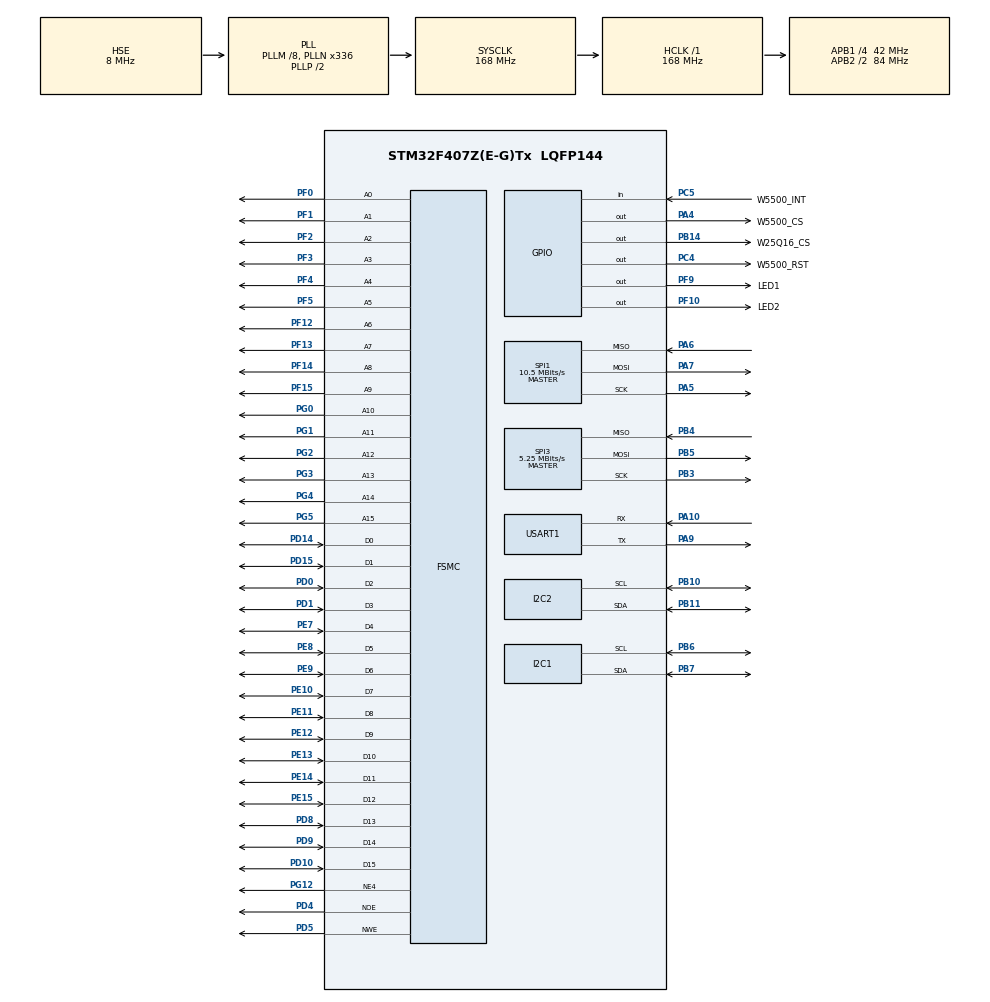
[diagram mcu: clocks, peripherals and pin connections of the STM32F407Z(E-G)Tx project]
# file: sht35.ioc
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FSMC.DataSetupTime4=24
FSMC.ExtendedAddressSetupTime4=8
FSMC.ExtendedDataSetupTime4=8
FSMC.ExtendedMode4=FSMC_EXTENDED_MODE_ENABLE
FSMC.WriteOperation4=FSMC_WRITE_OPERATION_ENABLE
I2C1.I2C_Mode=I2C_Fast
Mcu.Family=STM32F4
Mcu.Name=STM32F407Z(E-G)Tx
Mcu.Package=LQFP144
NVIC.PriorityGroup=NVIC_PRIORITYGROUP_4
NVIC.RTC_Alarm_IRQn=true\:0\:0\:false\:false\:true\:true\:true\:true
NVIC.TIM2_IRQn=true\:0\:0\:false\:false\:true\:true\:true\:true
PA10.Mode=Asynchronous
PA10.Signal=USART1_RX
PA13.Mode=Serial_Wire
PA13.Signal=SYS_JTMS-SWDIO
PA14.Mode=Serial_Wire
PA14.Signal=SYS_JTCK-SWCLK
PA4.GPIO_Label=W5500_CS
PA4.GPIO_Speed=GPIO_SPEED_FREQ_HIGH
PA4.PinState=GPIO_PIN_SET
PA4.Signal=GPIO_Output
PA5.Mode=Full_Duplex_Master
PA5.Signal=SPI1_SCK
PA6.Mode=Full_Duplex_Master
PA6.Signal=SPI1_MISO
PA7.Mode=Full_Duplex_Master
PA7.Signal=SPI1_MOSI
PA9.Mode=Asynchronous
PA9.Signal=USART1_TX
PB10.Mode=I2C
PB10.Signal=I2C2_SCL
PB11.Mode=I2C
PB11.Signal=I2C2_SDA
PB14.GPIO_Label=W25Q16_CS
PB14.GPIO_PuPd=GPIO_PULLUP
PB14.PinState=GPIO_PIN_SET
PB14.Signal=GPIO_Output
PB3.Mode=Full_Duplex_Master
PB3.Signal=SPI3_SCK
PB4.Mode=Full_Duplex_Master
PB4.Signal=SPI3_MISO
PB5.Mode=Full_Duplex_Master
PB5.Signal=SPI3_MOSI
PB6.Mode=I2C
PB6.Signal=I2C1_SCL
PB7.Mode=I2C
PB7.Signal=I2C1_SDA
PC14-OSC32_IN.Mode=LSE-External-Oscillator
PC14-OSC32_IN.Signal=RCC_OSC32_IN
PC15-OSC32_OUT.Mode=LSE-External-Oscillator
PC15-OSC32_OUT.Signal=RCC_OSC32_OUT
PC4.GPIO_Label=W5500_RST
PC4.PinState=GPIO_PIN_SET
PC4.Signal=GPIO_Output
PC5.GPIO_Label=W5500_INT
PC5.Signal=GPIO_Input
PD0.Signal=FSMC_D2_DA2
PD1.Signal=FSMC_D3_DA3
PD10.Signal=FSMC_D15_DA15
PD14.Signal=FSMC_D0_DA0
PD15.Signal=FSMC_D1_DA1
PD4.Signal=FSMC_NOE
PD5.Signal=FSMC_NWE
PD8.Signal=FSMC_D13_DA13
PD9.Signal=FSMC_D14_DA14
PE10.Signal=FSMC_D7_DA7
PE11.Signal=FSMC_D8_DA8
PE12.Signal=FSMC_D9_DA9
PE13.Signal=FSMC_D10_DA10
PE14.Signal=FSMC_D11_DA11
PE15.Signal=FSMC_D12_DA12
PE7.Signal=FSMC_D4_DA4
PE8.Signal=FSMC_D5_DA5
PE9.Signal=FSMC_D6_DA6
PF0.Signal=FSMC_A0
PF1.Signal=FSMC_A1
PF10.GPIO_Label=LED2
PF10.Signal=GPIO_Output
PF12.Signal=FSMC_A6
PF13.Signal=FSMC_A7
PF14.Signal=FSMC_A8
PF15.Signal=FSMC_A9
PF2.Signal=FSMC_A2
PF3.Signal=FSMC_A3
PF4.Signal=FSMC_A4
PF5.Signal=FSMC_A5
PF9.GPIO_Label=LED1
PF9.Signal=GPIO_Output
PG0.Signal=FSMC_A10
PG1.Signal=FSMC_A11
PG12.Mode=NorPsramChipSelect4_4
PG12.Signal=FSMC_NE4
PG2.Signal=FSMC_A12
PG3.Signal=FSMC_A13
PG4.Signal=FSMC_A14
PG5.Signal=FSMC_A15
PH0-OSC_IN.Mode=HSE-External-Oscillator
PH0-OSC_IN.Signal=RCC_OSC_IN
PH1-OSC_OUT.Mode=HSE-External-Oscillator
PH1-OSC_OUT.Signal=RCC_OSC_OUT
ProjectManager.HeapSize=0x200
ProjectManager.StackSize=0x400
ProjectManager.TargetToolchain=Makefile
RCC.48MHZClocksFreq_Value=84000000
RCC.AHBFreq_Value=168000000
RCC.APB1CLKDivider=RCC_HCLK_DIV4
RCC.APB1Freq_Value=42000000
RCC.APB1TimFreq_Value=84000000
RCC.APB2CLKDivider=RCC_HCLK_DIV2
RCC.APB2Freq_Value=84000000
RCC.APB2TimFreq_Value=168000000
RCC.CortexFreq_Value=168000000
RCC.HCLKFreq_Value=168000000
RCC.HSE_VALUE=8000000
RCC.HSI_VALUE=16000000
RCC.PLLM=8
RCC.PLLN=336
RCC.PLLSourceVirtual=RCC_PLLSOURCE_HSE
RCC.RCC_RTC_Clock_Source=RCC_RTCCLKSOURCE_LSE
RCC.RCC_RTC_Clock_SourceVirtual=RCC_RTCCLKSOURCE_LSE
RCC.SYSCLKFreq_VALUE=168000000
RCC.SYSCLKSource=RCC_SYSCLKSOURCE_PLLCLK
RCC.VCOOutputFreq_Value=336000000
RTC.Alarm=RTC_ALARM_A
RTC.Date=15
RTC.Format=RTC_FORMAT_BIN
RTC.Hours=7
RTC.Minutes=58
RTC.Month=RTC_MONTH_JULY
RTC.Year=26
SH.FSMC_A0.0=FSMC_A0,16b-a4
SH.FSMC_A1.0=FSMC_A1,16b-a4
SH.FSMC_A10.0=FSMC_A10,16b-a4
SH.FSMC_A11.0=FSMC_A11,16b-a4
SH.FSMC_A12.0=FSMC_A12,16b-a4
SH.FSMC_A13.0=FSMC_A13,16b-a4
SH.FSMC_A14.0=FSMC_A14,16b-a4
SH.FSMC_A15.0=FSMC_A15,16b-a4
SH.FSMC_A2.0=FSMC_A2,16b-a4
SH.FSMC_A3.0=FSMC_A3,16b-a4
SH.FSMC_A4.0=FSMC_A4,16b-a4
SH.FSMC_A5.0=FSMC_A5,16b-a4
SH.FSMC_A6.0=FSMC_A6,16b-a4
SH.FSMC_A7.0=FSMC_A7,16b-a4
SH.FSMC_A8.0=FSMC_A8,16b-a4
SH.FSMC_A9.0=FSMC_A9,16b-a4
SH.FSMC_D0_DA0.0=FSMC_D0,16b-d4
SH.FSMC_D10_DA10.0=FSMC_D10,16b-d4
SH.FSMC_D11_DA11.0=FSMC_D11,16b-d4
SH.FSMC_D12_DA12.0=FSMC_D12,16b-d4
SH.FSMC_D13_DA13.0=FSMC_D13,16b-d4
SH.FSMC_D14_DA14.0=FSMC_D14,16b-d4
SH.FSMC_D15_DA15.0=FSMC_D15,16b-d4
SH.FSMC_D1_DA1.0=FSMC_D1,16b-d4
SH.FSMC_D2_DA2.0=FSMC_D2,16b-d4
SH.FSMC_D3_DA3.0=FSMC_D3,16b-d4
SH.FSMC_D4_DA4.0=FSMC_D4,16b-d4
SH.FSMC_D5_DA5.0=FSMC_D5,16b-d4
SH.FSMC_D6_DA6.0=FSMC_D6,16b-d4
SH.FSMC_D7_DA7.0=FSMC_D7,16b-d4
SH.FSMC_D8_DA8.0=FSMC_D8,16b-d4
SH.FSMC_D9_DA9.0=FSMC_D9,16b-d4
SH.FSMC_NOE.0=FSMC_NOE,Sram4
SH.FSMC_NWE.0=FSMC_NWE,Sram4
SPI1.BaudRatePrescaler=SPI_BAUDRATEPRESCALER_8
SPI1.CalculateBaudRate=10.5 MBits/s
SPI1.Direction=SPI_DIRECTION_2LINES
SPI1.Mode=SPI_MODE_MASTER
SPI1.VirtualType=VM_MASTER
SPI3.BaudRatePrescaler=SPI_BAUDRATEPRESCALER_8
SPI3.CLKPhase=SPI_PHASE_2EDGE
SPI3.CLKPolarity=SPI_POLARITY_HIGH
SPI3.CalculateBaudRate=5.25 MBits/s
SPI3.Direction=SPI_DIRECTION_2LINES
SPI3.Mode=SPI_MODE_MASTER
SPI3.VirtualType=VM_MASTER
TIM2.AutoReloadPreload=TIM_AUTORELOAD_PRELOAD_ENABLE
TIM2.Period=999
TIM2.Prescaler=83
USART1.VirtualMode=VM_ASYNC
VP_RTC_VS_RTC_Activate.Mode=RTC_Enabled
VP_RTC_VS_RTC_Alarm_A_Intern.Mode=Alarm A
VP_RTC_VS_RTC_Calendar.Mode=RTC_Calendar
VP_TIM2_VS_ClockSourceINT.Mode=Internal
board=custom

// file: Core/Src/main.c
/* USER CODE BEGIN Header */
  /**
    ******************************************************************************
    * @file           : main.c
    * @brief          : Main program body
    ******************************************************************************
    * @attention
    *
    * Copyright (c) 2026 STMicroelectronics.
    * All rights reserved.
    *
    * This software is licensed under terms that can be found in the LICENSE file
    * in the root directory of this software component.
    * If no LICENSE file comes with this software, it is provided AS-IS.
    *
    ******************************************************************************
    */
/* USER CODE END Header */
#include "main.h"
#include "i2c.h"
#include "rtc.h"
#include "spi.h"
#include "tim.h"
#include "usart.h"
#include "gpio.h"
#include "fsmc.h"

/* USER CODE BEGIN Includes */
  #include <unistd.h>  // _read 和 _write 必须包含此头文件
  #include <errno.h>
   #include <stdio.h>
  #include "delay.h" //延迟函数
  #include "SHT3x.h"  //引入温湿度传感器
  #include "SY30.h"   //光照传感器
  #include "lcd.h"    //TFT LCD屏幕
  #include "w5500.h"  //w5500
  #include "wizchip_conf.h"
  #include "wiz_interface.h"
  #include "do_mqtt.h"
  #include "display.h"
  #include "driver_w25qxx.h"  // 引入 LibDriver 核心头文件
  #include "driver_w25qxx_interface.h"// 接口层头文件
  #include "lfs_port.h"

/* USER CODE END Includes */

/* USER CODE BEGIN PD */
   extern UART_HandleTypeDef huart1; // 确保声明了 huart1
  // 外部声明 SPI 句柄
   extern SPI_HandleTypeDef hspi3;
/* USER CODE END PD */

/* USER CODE BEGIN PV */

  #define SOCKET_ID 0
  #define ETHERNET_BUF_MAX_SIZE (1024 * 2)

  float hum = 0.0f;       // 用于存储湿度值
  float temp = 0.0f;      // 用于存储温度值
  uint16_t light = 0;     //光照强度

  /* network information */
  wiz_NetInfo default_net_info = {
      .mac = {0x00, 0x08, 0xdc, 0x12, 0x22, 0x12},
      .ip  = {192, 168, 1, 30},
      .gw  = {192, 168, 1, 1},
      .sn  = {255, 255, 255, 0},
      .dns = {8, 8, 8, 8},
      .dhcp = NETINFO_DHCP
  };

  uint8_t ethernet_buf[ETHERNET_BUF_MAX_SIZE] = {0};
  static uint8_t mqtt_send_ethernet_buf[ETHERNET_BUF_MAX_SIZE] = {0};
  static uint8_t mqtt_recv_ethernet_buf[ETHERNET_BUF_MAX_SIZE] = {0};

/* USER CODE END PV */

void SystemClock_Config(void);

/* USER CODE BEGIN 0 */

  /**
    * @brief  重定向 _read (用于 scanf / getchar，适配 newlib-nano)
    */
  int _read(int fd, char *ptr, int len)
  {
      // fd == 0 代表 stdin (标准输入)
      if (fd == 0)
      {
          // 阻塞接收 1 个字符 (与原来的 fgetc 逻辑一致)
          HAL_UART_Receive(&huart1, (uint8_t *)ptr, 1, HAL_MAX_DELAY);
          return 1; // 返回成功读取的字节数
      }
      errno = EBADF;
      return -1;
  }

/**
  * @brief  重定向 _write (用于 printf，适配 newlib-nano)
  */
int _write(int fd, char *ptr, int len)
{
    // fd == 1 代表 stdout, fd == 2 代表 stderr
    if (fd == 1 || fd == 2)
    {
        // 批量发送，效率极高
        HAL_UART_Transmit(&huart1, (uint8_t *)ptr, len, HAL_MAX_DELAY);
        return len;
    }
    errno = EBADF;
    return -1;
}

/* USER CODE END 0 */

int main(void)
{

  /* USER CODE BEGIN 1 */
      char str_temp[32];      // 用于格式化温度字符串的缓冲区
      char str_hum[32];       // 用于格式化湿度字符串的缓冲区
      char str_light[32];
      uint32_t last_sensor_time = 0;
      uint32_t last_rtc_time = 0;

  /* USER CODE END 1 */

  /* MCU Configuration--------------------------------------------------------*/

  /* Reset of all peripherals, Initializes the Flash interface and the Systick. */
  HAL_Init();

  /* Configure the system clock */
  SystemClock_Config();

  /* USER CODE BEGIN SysInit */

  // 4. DWT 延时初始化，必须放在 SystemClock_Config() 之后！
  // 此时 SystemCoreClock 已经是准确的 168,000,000
  Delay_Init();

  /* USER CODE END SysInit */

  /* Initialize all configured peripherals */
  MX_GPIO_Init();
  MX_FSMC_Init();
  MX_I2C1_Init();
  MX_I2C2_Init();
  MX_USART1_UART_Init();
  MX_RTC_Init();
  MX_SPI1_Init();
  MX_TIM2_Init();
  MX_SPI3_Init();
  /* USER CODE BEGIN 2 */
  HAL_TIM_Base_Start_IT(&htim2);

  // 打印验证一下，确保时钟配置正确
  printf("System Core Clock: %u Hz\r\n", SystemCoreClock);
  uint8_t test[] = "Hello USART1\r\n";
  HAL_UART_Transmit(&huart1, test, sizeof(test), 100);
  HAL_Delay(10);
  printf("%s MQTT OneNET example\r\n",_WIZCHIP_ID_);

  //6. 初始化 LittleFS (内部会自动初始化 W25Q16)

  printf("\r\n========================================\r\n");
  printf("  W25Q16 + LittleFS Final Test\r\n");
  printf("========================================\r\n");

  if (lfs_port_init()!= 0)
  {
      printf("[ERROR] System Init Failed! Halt.\r\n");
  }
  else
  {
      printf("[INFO] LittleFS Mount Success!\r\n");
  }
    printf("[INFO] System Ready! Logging...\r\n\r\n");

  // 3. 写入测试日志
  save_log_to_flash("System Boot OK.");
  save_log_to_flash("SPI & LittleFS Init Success.");
  save_log_to_flash("This is a test log from W25Q16.");

  // 4. 读取并打印所有日志
  read_all_logs();
  /* wizchip init */
  wizchip_initialize();
  uint8_t version = getVERSIONR(); // 读取 W5500 版本寄存器 (固定为 0x04)
  printf("[W5500] VERSIONR = 0x%02X\r\n", version);
  network_init(ethernet_buf, &default_net_info);
  mqtt_init(SOCKET_ID, mqtt_send_ethernet_buf, mqtt_recv_ethernet_buf);

  RTC_TimeTypeDef sTime = {0};
  RTC_DateTypeDef sDate = {0};
  char date_str[20];
  char time_str[20];

  display_init();

  /* USER CODE END 2 */

  /* Infinite loop */
  /* USER CODE BEGIN WHILE */
    while (1)
    {
     // ---------------------------------------------------------
     // 任务1：每 1000ms 执行一次传感器读取和 MQTT
     // ---------------------------------------------------------
     if (HAL_GetTick() - last_sensor_time >= 1000)
        {
            last_sensor_time = HAL_GetTick(); // 更新时间戳
        // 1. 读取传感器数据
      if (ReadSHT3x(&hum, &temp))
      {
          snprintf(str_temp, sizeof(str_temp), "%.2f", temp);
          snprintf(str_hum, sizeof(str_hum), "%.2f", hum);
          printf("temp%.2f,hum%.2f\r\n",temp,hum);
      }
      else
      {
          // 如果读取失败，显示错误提示
          snprintf(str_temp, sizeof(str_temp), "Error");
          snprintf(str_hum, sizeof(str_hum), "Error");
      }
      // ================== 2. 读取并显示光照度 (SY30/BH1750) ==================
      GY30_Init();
      //light = GY30_GetData();
      if (GY30_ReadLux(&light) == HAL_OK)
          {
              printf("Light: %u Lux\r\n", light);
          }
          else
          {
              printf("GY30 read failed\r\n");
          }

      // 格式化为 5 位整数字符串（例如 "150" 或 "00150"）
      sprintf(str_light,"%u", light);

      display_refresh(str_temp, str_hum, str_light);
      // 1. 核心：循环处理 MQTT 状态机 (连接、订阅、发布、保活)
      do_mqtt();
      // 翻转 LED 表示程序在运行
      HAL_GPIO_TogglePin(GPIOF, GPIO_PIN_9); // 请根据你的实际 LED 引脚修改！
    }
        // ---------------------------------------------------------
        // 任务2：每 1000ms 刷新一次 RTC 时间，确保秒数平滑不跳帧
        // ---------------------------------------------------------
        if (HAL_GetTick() - last_rtc_time >= 1000U)
        {
            last_rtc_time = HAL_GetTick(); // 更新时间戳
     if(HAL_RTC_GetTime(&hrtc, &sTime, RTC_FORMAT_BIN)==HAL_OK){
        HAL_RTC_GetDate(&hrtc, &sDate, RTC_FORMAT_BIN);
        sprintf(date_str, "20%02d/%02d/%02d", sDate.Year, sDate.Month, sDate.Date);
        sprintf(time_str, "%02d:%02d:%02d", sTime.Hours, sTime.Minutes, sTime.Seconds);
        display_time( date_str, time_str);
     }
        }
    /* USER CODE END WHILE */

    }
}

void SystemClock_Config(void)
{
  RCC_OscInitTypeDef RCC_OscInitStruct = {0};
  RCC_ClkInitTypeDef RCC_ClkInitStruct = {0};

  /** Configure the main internal regulator output voltage
  */
  __HAL_RCC_PWR_CLK_ENABLE();
  __HAL_PWR_VOLTAGESCALING_CONFIG(PWR_REGULATOR_VOLTAGE_SCALE1);

  /** Initializes the RCC Oscillators according to the specified parameters
  * in the RCC_OscInitTypeDef structure.
  */
  RCC_OscInitStruct.OscillatorType = RCC_OSCILLATORTYPE_HSE|RCC_OSCILLATORTYPE_LSE;
  RCC_OscInitStruct.HSEState = RCC_HSE_ON;
  RCC_OscInitStruct.LSEState = RCC_LSE_ON;
  RCC_OscInitStruct.PLL.PLLState = RCC_PLL_ON;
  RCC_OscInitStruct.PLL.PLLSource = RCC_PLLSOURCE_HSE;
  RCC_OscInitStruct.PLL.PLLM = 8;
  RCC_OscInitStruct.PLL.PLLN = 336;
  RCC_OscInitStruct.PLL.PLLP = RCC_PLLP_DIV2;
  RCC_OscInitStruct.PLL.PLLQ = 4;
  if (HAL_RCC_OscConfig(&RCC_OscInitStruct) != HAL_OK)
  {
    Error_Handler();
  }

  /** Initializes the CPU, AHB and APB buses clocks
  */
  RCC_ClkInitStruct.ClockType = RCC_CLOCKTYPE_HCLK|RCC_CLOCKTYPE_SYSCLK
                              |RCC_CLOCKTYPE_PCLK1|RCC_CLOCKTYPE_PCLK2;
  RCC_ClkInitStruct.SYSCLKSource = RCC_SYSCLKSOURCE_PLLCLK;
  RCC_ClkInitStruct.AHBCLKDivider = RCC_SYSCLK_DIV1;
  RCC_ClkInitStruct.APB1CLKDivider = RCC_HCLK_DIV4;
  RCC_ClkInitStruct.APB2CLKDivider = RCC_HCLK_DIV2;

  if (HAL_RCC_ClockConfig(&RCC_ClkInitStruct, FLASH_LATENCY_5) != HAL_OK)
  {
    Error_Handler();
  }
}

void Error_Handler(void)
{
    __disable_irq();
    while (1)
    {
    }
}
